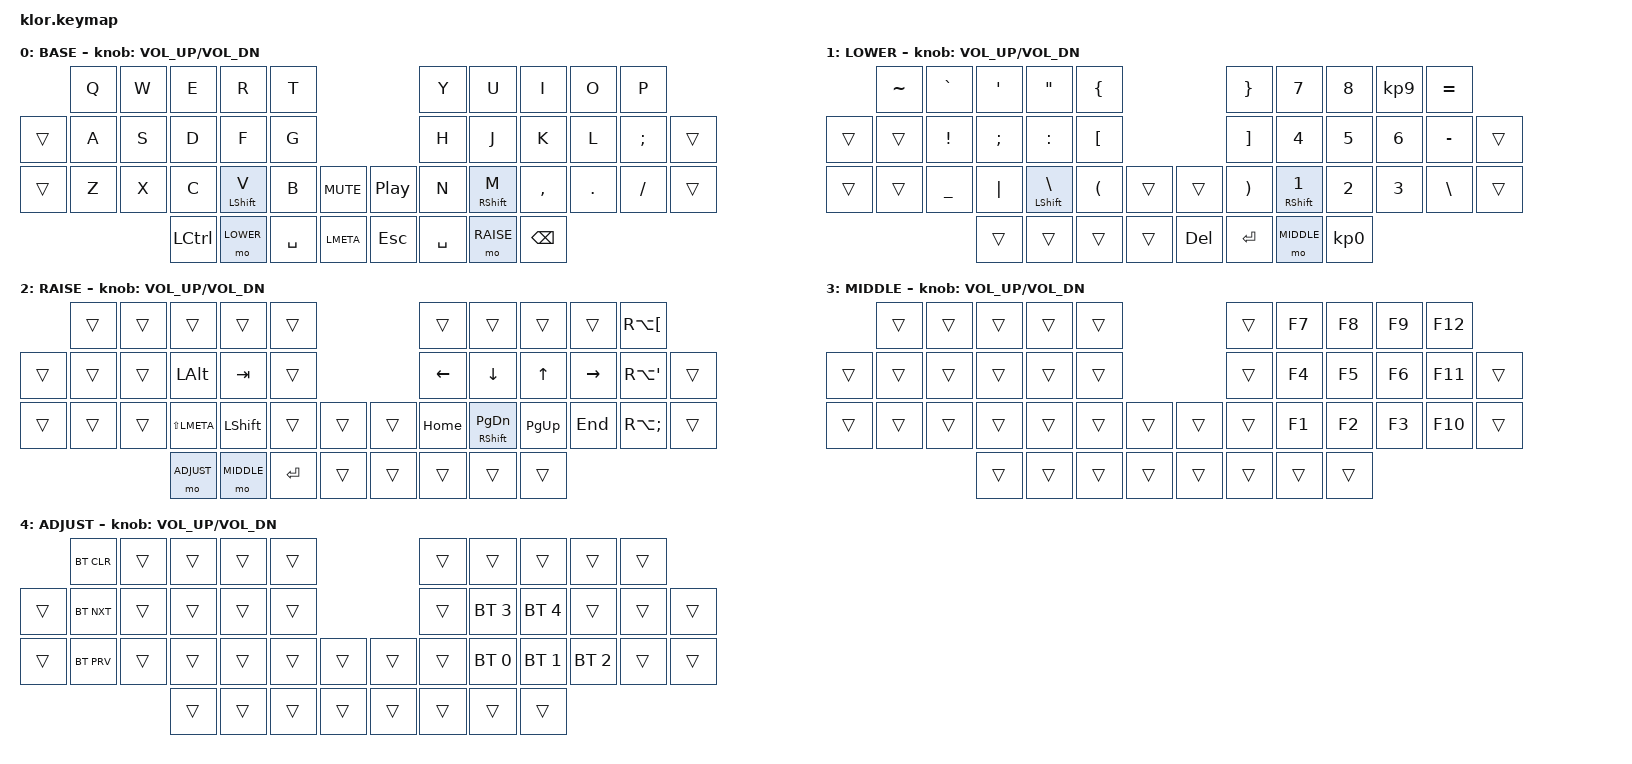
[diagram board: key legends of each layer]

//                               █         █    █            ▄▄▄▀▀▀▀▀▀▄▄▄        █▀▀▀▀▀▀▀▀▀▀█
//                               █        █     █          ▄▀            ▀▄      █          █
//                               █       █      █        ▄▀                ▀▄    █          █
//                               █      █       █        █                  █    █          █
//                               █     █        █       █                    █   █          █
//                               █    █         █       █                    █   █▄▄▄▄▄▄▄▄▄▄█
//                               █   █ █        █       █                    █   █      █
//                               █  █   █       █        █                  █    █       █
//                               █ █     █      █        ▀▄                ▄▀    █        █
//                               ██       █     █          ▀▄            ▄▀      █         █
//                               █         █    █▄▄▄▄▄▄▄▄    ▀▀▀▄▄▄▄▄▄▀▀▀        █          █
//
// ▄▄▄▄▄▄▄▄▄▄▄▄▄▄▄▄▄▄▄▄▄▄▄▄▄▄▄▄▄▄▄▄▄▄▄▄▄▄▄▄▄▄▄▄▄▄▄▄▄▄▄▄▄▄▄▄▄▄▄▄▄▄▄▄▄▄▄▄▄▄▄▄▄▄▄▄▄▄▄▄▄▄▄▄▄▄▄▄▄▄▄▄▄▄▄▄▄▄▄▄▄▄▄▄▄▄▄▄▄▄▄▄▄▄▄▄▄▄▄▄▄▄▄▄▄
       
#include <behaviors.dtsi>
#include <dt-bindings/zmk/keys.h>
#include <dt-bindings/zmk/bt.h>
#include <dt-bindings/zmk/outputs.h>
#include <dt-bindings/zmk/ext_power.h>
#include <dt-bindings/zmk/rgb.h>


#define BASE   0
#define LOWER  1
#define RAISE  2
#define MIDDLE 3
#define ADJUST 4


/ {
    behaviors {
        hm: homerow_mods {
            compatible = "zmk,behavior-hold-tap";
            label = "HOMEROW_MODS";
            #binding-cells = <2>;
            tapping-term-ms = <150>;
            quick_tap_ms = <0>;
            flavor = "tap-preferred";
            bindings = <&kp>, <&kp>;
        };

    };

     combos {
            compatible = "zmk,combos";
            combo_esc {
                timeout-ms = <50>;
                key-positions = <0 1>;
                bindings = <&kp ESC>;
            };
    };



        keymap {
                compatible = "zmk,keymap";
// ▄▄▄▄▄▄▄▄▄▄▄▄▄▄▄▄▄▄▄▄▄▄▄▄▄▄▄▄▄▄▄▄▄▄▄▄▄▄▄▄▄▄▄▄▄▄▄▄▄▄▄▄▄▄▄▄▄▄▄▄▄▄▄▄▄▄▄▄▄▄▄▄▄▄▄▄▄▄▄▄▄▄▄▄▄▄▄▄▄▄▄▄▄▄▄▄▄▄▄▄▄▄▄▄▄▄▄▄▄▄▄▄▄▄▄▄▄▄▄▄▄▄▄▄▄▄▄▄▄▄▄▄▄▄▄▄▄▄▄▄▄▄


base_layer {
// ┌───────────────────────────────────────────────────────────┐
label= "BASE"                                                  ;
// └───────────────────────────────────────────────────────────┘
/*           ┌─────────┬─────────┬─────────┬─────────┬─────────┐                    ┌─────────┬─────────┬─────────┬─────────┬─────────┐
             │    Q    │    W    │    E    │    R    │    T    │                    │    Y    │    U    │    I    │    O    │    P    │   
   ┌─────────┼─────────┼─────────┼─────────┼─────────┼─────────┤                    ├─────────┼─────────┼─────────┼─────────┼─────────┼─────────┐
   │         │ A/CTRL  │    S    │    D    │    F    │    G    │                    │    H    │    J    │    K    │    L    │    ;    │         │
   ├─────────┼─────────┼─────────┼─────────┼─────────┼─────────┤╭────────╮╭────────╮├─────────┼─────────┼─────────┼─────────┼─────────┼─────────┤
   │         │    Z    │    X    │    C    │ V/SHFT  │    B    ││  MUTE  ││    ⏯   ││    N    │ M/SHFT  │    ,    │    .    │    /    │         │
   └─────────┴─────────┴─────────┼─────────┼─────────┼─────────┼╰────────╯╰────────╯┼─────────┼─────────┼─────────┼─────────┴─────────┴─────────┘
                                 │  CTRL   │  LOWER  │  SPACE  │   META  ││   ESC   │  SPACE  │  RAISE  │  BSPCE  │  
                                 └─────────┴─────────┴─────────┴─────────┘└─────────┴─────────┴─────────┴─────────┘ */ 
 bindings = <    
 //╷         ╷      ╷      ╷         ╷           ╷         ╷          ╷╷         ╷         ╷           ╷         ╷         ╷              ╷         ╷
              &kp Q  &kp W  &kp E     &kp R       &kp T                           &kp Y     &kp U       &kp I     &kp O     &kp P
    &trans    &kp A  &kp S  &kp D     &kp F       &kp G                           &kp H     &kp J       &kp K     &kp L     &kp SEMI       &trans
    &trans    &kp Z  &kp X  &kp C     &hm LSHFT V &kp B     &kp C_MUTE  &kp C_PP  &kp N     &hm RSHFT M &kp COMMA &kp DOT   &kp FSLH       &trans
                            &kp LCTRL &mo LOWER   &kp SPACE &kp LMETA   &kp ESC   &kp SPACE &mo RAISE   &kp BSPC    
  >;
  sensor-bindings = <&inc_dec_kp C_VOL_UP C_VOL_DN>;
};

lower_layer {
// ┌───────────────────────────────────────────────────────────┐
label= "LOWER"                                                 ;
// └───────────────────────────────────────────────────────────┘
/*           ┌─────────┬─────────┬─────────┬─────────┬─────────┐                    ┌─────────┬─────────┬─────────┬─────────┬─────────┐
             │    ~    │    `    │    '    │    "    │    {    │                    │    }    │    7    │    8    │    9    │    =    │
   ┌─────────┼─────────┼─────────┼─────────┼─────────┼─────────┤                    ├─────────┼─────────┼─────────┼─────────┼─────────┼─────────┐
   │         │         │    !    │    ;    │    :    │    [    │                    │    ]    │    4    │    5    │    6    │    -    │         │
   ├─────────┼─────────┼─────────┼─────────┼─────────┼─────────┤╭────────╮╭────────╮├─────────┼─────────┼─────────┼─────────┼─────────┼─────────┤
   │         │         │    _    │    |    │    \    │    (    ││        ││        ││    )    │    1    │    2    │    3    │    \    │         │
   └─────────┴─────────┴─────────┼─────────┼─────────┼─────────┼╰────────╯╰────────╯┼─────────┼─────────┼─────────┼─────────┴─────────┴─────────┘
                                 │         │         │         │         ││ DELETE  │  ENTER  │ MIDDLE  │    0    │  
                                 └─────────┴─────────┴─────────┴─────────┘└─────────┴─────────┴─────────┴─────────┘ */  
bindings = <
 //╷         ╷         ╷         ╷         ╷              ╷         ╷       ╷╷          ╷        ╷            ╷         ╷         ╷         ╷         ╷
              &kp TILDE &kp GRAVE &kp SQT   &kp DQT        &kp LBRC                      &kp RBRC &kp N7       &kp N8    &kp KP_N9 &kp EQUAL
    &trans    &trans    &kp EXCL  &kp SEMI  &kp COLON      &kp LBKT                      &kp RBKT &kp N4       &kp N5    &kp N6    &kp MINUS &trans
    &trans    &trans    &kp UNDER &kp PIPE  &hm LSHFT BSLH &kp LPAR  &trans   &trans     &kp RPAR &hm RSHFT N1 &kp N2    &kp N3    &kp BSLH  &trans
                                  &trans    &trans         &trans    &trans   &kp DELETE &kp RET  &mo MIDDLE   &kp KP_N0       
 >;
  sensor-bindings = <&inc_dec_kp C_VOL_UP C_VOL_DN>;
};


                raise_layer {
// ┌───────────────────────────────────────────────────────────┐
label= "RAISE"                                                 ;
// └───────────────────────────────────────────────────────────┘
/*           ┌─────────┬─────────┬─────────┬─────────┬─────────┐                    ┌─────────┬─────────┬─────────┬─────────┬─────────┐
             │         │         │         │         │         │                    │         │         │         │         │    Å    │
   ┌─────────┼─────────┼─────────┼─────────┼─────────┼─────────┤                    ├─────────┼─────────┼─────────┼─────────┼─────────┼─────────┐
   │         │         │         │   ALT   │   TAB   │         │                    │   LEFT  │  DOWN   │   UP    │  RIGHT  │    Ä    │         │
   ├─────────┼─────────┼─────────┼─────────┼─────────┼─────────┤╭────────╮╭────────╮├─────────┼─────────┼─────────┼─────────┼─────────┼─────────┤
   │         │         │         │ SHFT+MT │         │         ││        ││        ││   HOME  │  PG DN  │  PG UP  │   END   │    Ö    │         │
   └─────────┴─────────┴─────────┼─────────┼─────────┼─────────┼╰────────╯╰────────╯┼─────────┼─────────┼─────────┼─────────┴─────────┴─────────┘
                                 │ ADJUST  │ MIDDLE  │  ENTER  │         ││         │         │         │         │  
                                 └─────────┴─────────┴─────────┴─────────┘└─────────┴─────────┴─────────┴─────────┘ */ 
 bindings = <
 //╷         ╷         ╷        ╷             ╷          ╷         ╷         ╷╷         ╷         ╷               ╷         ╷          ╷            ╷         ╷
              &trans    &trans   &trans        &trans     &trans                         &trans    &trans          &trans    &trans     &kp RA(LBKT)
    &trans    &trans    &trans   &kp LALT      &kp TAB    &trans                         &kp LEFT  &kp DOWN        &kp UP    &kp RIGHT  &kp RA(SQT)  &trans  
    &trans    &trans    &trans   &kp LS(LMETA) &kp LSHFT  &trans    &trans     &trans    &kp HOME  &hm RSHFT PG_DN &kp PG_UP &kp END    &kp RA(SEMI) &trans
                                 &mo ADJUST    &mo MIDDLE &kp RET   &trans     &trans    &trans    &trans          &trans  
                        >;
                sensor-bindings = <&inc_dec_kp C_VOL_UP C_VOL_DN>;
                };

middle_layer {
// ┌───────────────────────────────────────────────────────────┐
label= "MIDDLE"                                                ;
// └───────────────────────────────────────────────────────────┘
/*           ┌─────────┬─────────┬─────────┬─────────┬─────────┐                    ┌─────────┬─────────┬─────────┬─────────┬─────────┐
             │         │         │         │         │         │                    │         │   F7    │   F8    │   F9    │   F12   │   
   ┌─────────┼─────────┼─────────┼─────────┼─────────┼─────────┤                    ├─────────┼─────────┼─────────┼─────────┼─────────┼─────────┐
   │         │         │         │         │         │         │                    │         │   F4    │   F5    │   F6    │   F11   │         │
   ├─────────┼─────────┼─────────┼─────────┼─────────┼─────────┤╭────────╮╭────────╮├─────────┼─────────┼─────────┼─────────┼─────────┼─────────┤
   │         │         │         │         │         │         ││        ││        ││         │   F1    │   F2    │   F3    │   F10   │         │
   └─────────┴─────────┴─────────┼─────────┼─────────┼─────────┼╰────────╯╰────────╯┼─────────┼─────────┼─────────┼─────────┴─────────┴─────────┘
                                 │         │         │         │         ││         │         │         │         │  
                                 └─────────┴─────────┴─────────┴─────────┘└─────────┴─────────┴─────────┴─────────┘ */ 
 bindings = <    
 //╷         ╷         ╷         ╷         ╷         ╷         ╷         ╷╷          ╷         ╷         ╷         ╷         ╷         ╷         ╷
              &trans    &trans    &trans    &trans    &trans                          &trans    &kp F7    &kp F8    &kp F9    &kp F12
    &trans    &trans    &trans    &trans    &trans    &trans                          &trans    &kp F4    &kp F5    &kp F6    &kp F11   &trans
    &trans    &trans    &trans    &trans    &trans    &trans    &trans      &trans    &trans    &kp F1    &kp F2    &kp F3    &kp F10   &trans
                                  &trans    &trans    &trans    &trans      &trans    &trans    &trans    &trans    
  >;
  sensor-bindings = <&inc_dec_kp C_VOL_UP C_VOL_DN>;
};

// ▄▄▄▄▄▄▄▄▄▄▄▄▄▄▄▄▄▄▄▄▄▄▄▄▄▄▄▄▄▄▄▄▄▄▄▄▄▄▄▄▄▄▄▄▄▄▄▄▄▄▄▄▄▄▄▄▄▄▄▄▄▄▄▄▄▄▄▄▄▄▄▄▄▄▄▄▄▄▄▄▄▄▄▄▄▄▄▄▄▄▄▄▄▄▄▄▄▄▄▄▄▄▄▄▄▄▄▄▄▄▄▄▄▄▄▄▄▄▄▄▄▄▄▄▄


                adjust_layer {
// ┌───────────────────────────────────────────────────────────┐
label= "ADJUST"                                                ;
// └───────────────────────────────────────────────────────────┘
/*           ┌─────────┬─────────┬─────────┬─────────┬─────────┐                    ┌─────────┬─────────┬─────────┬─────────┬─────────┐
             │ BLT CLR │         │         │         │         │                    │         │         │         │         │         │
   ┌─────────┼─────────┼─────────┼─────────┼─────────┼─────────┤                    ├─────────┼─────────┼─────────┼─────────┼─────────┼─────────┐
   │         │ BLT NXT │         │         │         │         │                    │         │  BLT 3  │  BLT 4  │         │         │         │
   ├─────────┼─────────┼─────────┼─────────┼─────────┼─────────┤╭────────╮╭────────╮├─────────┼─────────┼─────────┼─────────┼─────────┼─────────┤
   │         │ PLT PRV │         │         │         │         ││        ││        ││         │  BLT 0  │  BLT 1  │  BLT 2  │         │         │
   └─────────┴─────────┴─────────┼─────────┼─────────┼─────────┼╰────────╯╰────────╯┼─────────┼─────────┼─────────┼─────────┴─────────┴─────────┘
                                 │         │         │         │         ││         │         │         │         │  
                                 └─────────┴─────────┴─────────┴─────────┘└─────────┴─────────┴─────────┴─────────┘ */ 
 bindings = <
 //╷         ╷         ╷         ╷         ╷         ╷         ╷         ╷╷         ╷         ╷            ╷            ╷             ╷         ╷         ╷
             &bt BT_CLR &trans    &trans    &trans    &trans                         &trans    &trans       &trans        &trans        &trans   
    &trans   &bt BT_NXT &trans    &trans    &trans    &trans                         &trans    &bt BT_SEL 3 &bt BT_SEL 4  &trans        &trans    &trans 
    &trans   &bt BT_PRV &trans    &trans    &trans    &trans    &trans     &trans    &trans    &bt BT_SEL 0 &bt BT_SEL 1  &bt BT_SEL 2  &trans    &trans    
                                  &trans    &trans    &trans    &trans     &trans    &trans    &trans       &trans    
                        >;
            sensor-bindings = <&inc_dec_kp C_VOL_UP C_VOL_DN>;
                };
        };
};
